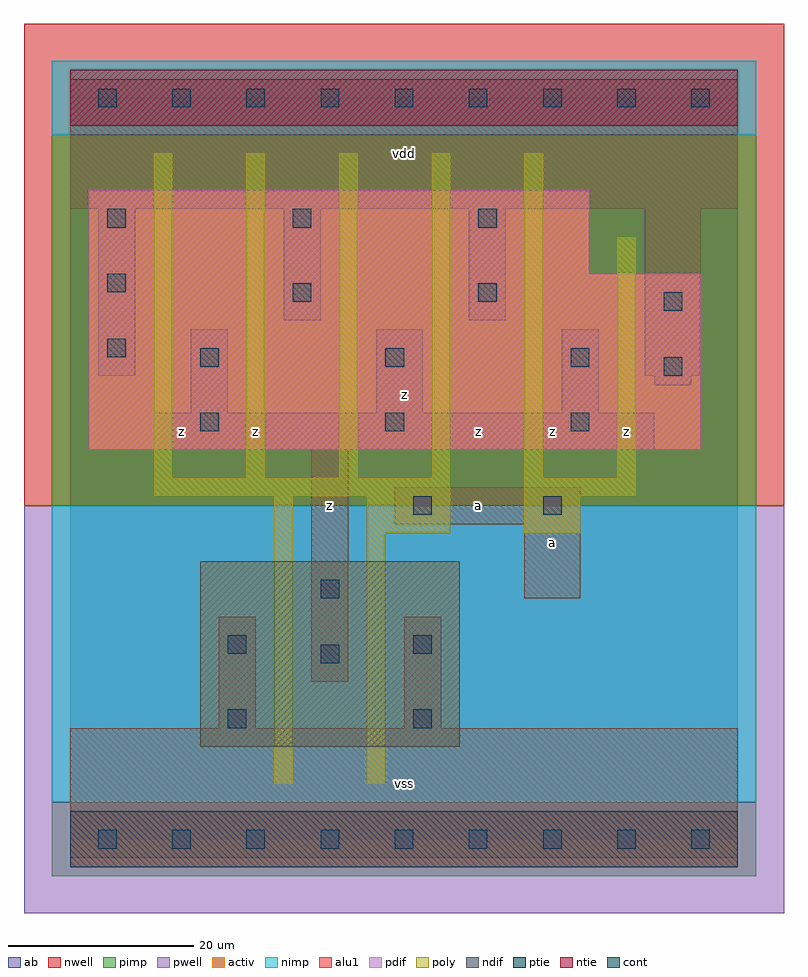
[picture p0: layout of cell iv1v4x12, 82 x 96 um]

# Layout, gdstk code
import gdstk
lib = gdstk.Library(unit=1e-6, precision=1e-09)
def R(c, l, rs):  # rectangles x0, y0, x1, y1
    for r in rs: c.add(gdstk.rectangle(r[:2], r[2:], *l))
def A(c, l, x, y, w, h, nx, ny, dx, dy):  # array of equal rectangles
    R(c, l, [(x+i*dx, y+j*dy, x+i*dx+w, y+j*dy+h) for i in range(nx) for j in range(ny)])
ndif = (3, 0)
pdif = (4, 0)
ntie = (5, 0)
ptie = (6, 0)
cont = (25, 0)
pwell = (41, 0)
nwell = (42, 0)
activ = (43, 0)
pimp = (44, 0)
nimp = (45, 0)
poly = (46, 0)
alu1 = (49, 0)
ab = (63, 0)

iv1v4x12 = lib.new_cell('iv1v4x12')
R(iv1v4x12, ndif, [(14,10,42,30)])
R(iv1v4x12, pdif, [(2,42,68,61), (2,61,56,70)])
R(iv1v4x12, ntie, [(0,77,72,83)])
R(iv1v4x12, ptie, [(0,-3,72,3)])
A(iv1v4x12, cont, 3, -1, 2, 2, 9, 2, 8, 80)
A(iv1v4x12, cont, 14, 44, 2, 2, 3, 2, 20, 7)
A(iv1v4x12, cont, 4, 66, 2, 2, 3, 1, 20, 0)
R(iv1v4x12, cont, [(17,12,19,14), (37,12,39,14), (27,19,29,21), (17,20,19,22), (37,20,39,22), (27,26,29,28), (37,35,39,37), (51,35,53,37), (64,50,66,52), (4,52,6,54), (64,57,66,59), (24,58,26,60), (44,58,46,60), (4,59,6,61)])
R(iv1v4x12, pwell, [(-5,-8,77,36)])
R(iv1v4x12, nwell, [(-5,36,77,88)])
R(iv1v4x12, activ, [(0,-3,72,3), (14,10,42,30), (2,42,68,61), (2,61,56,70), (0,77,72,83)])
R(iv1v4x12, pimp, [(-2,-4,74,4), (-2,36,74,76)])
R(iv1v4x12, nimp, [(-2,4,74,36), (-2,76,74,84)])
A(iv1v4x12, poly, 9, 39, 2, 35, 5, 1, 10, 0)
R(iv1v4x12, poly, [(22,6,24,37), (32,6,34,33), (32,33,41,37), (49,33,55,37), (9,37,41,39), (49,37,61,39), (59,39,61,65)])
R(iv1v4x12, alu1, [(0,-2,72,12), (16,12,20,24), (36,12,40,24), (26,17,30,42), (49,26,55,34), (35,34,55,38), (9,42,63,46), (13,46,17,55), (33,46,38,55), (53,46,57,55), (63,49,67,50), (3,50,7,68), (62,50,68,68), (23,56,27,68), (43,56,47,68), (0,68,72,82)])
R(iv1v4x12, ab, [(0,0,72,80)])
iv1v4x12.add(gdstk.Label('z', (12,44), layer=49, texttype=0))
iv1v4x12.add(gdstk.Label('z', (28,36), layer=49, texttype=0))
iv1v4x12.add(gdstk.Label('z', (20,44), layer=49, texttype=0))
iv1v4x12.add(gdstk.Label('vss', (36,6), layer=49, texttype=0))
iv1v4x12.add(gdstk.Label('a', (44,36), layer=49, texttype=0))
iv1v4x12.add(gdstk.Label('a', (52,32), layer=49, texttype=0))
iv1v4x12.add(gdstk.Label('z', (44,44), layer=49, texttype=0))
iv1v4x12.add(gdstk.Label('z', (52,44), layer=49, texttype=0))
iv1v4x12.add(gdstk.Label('z', (36,48), layer=49, texttype=0))
iv1v4x12.add(gdstk.Label('vdd', (36,74), layer=49, texttype=0))
iv1v4x12.add(gdstk.Label('z', (60,44), layer=49, texttype=0))

lib.write_gds('iv1v4x12.gds')
